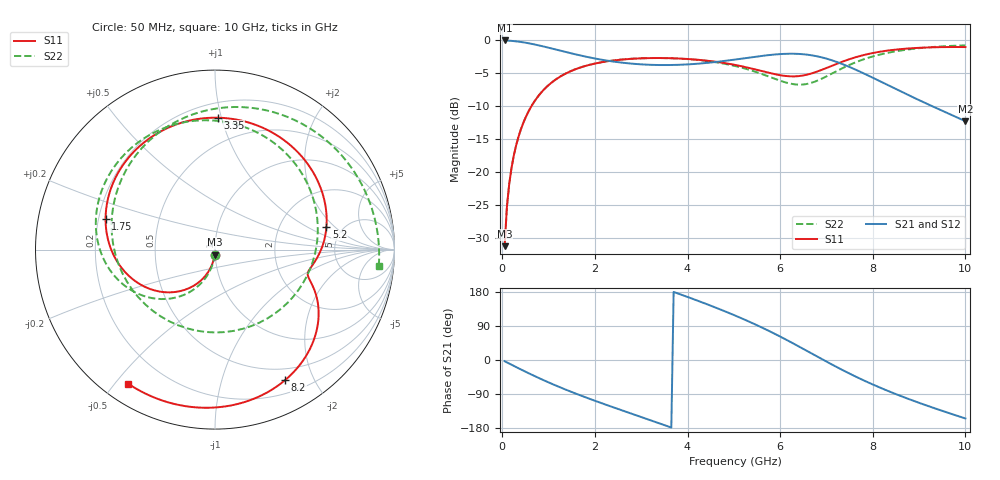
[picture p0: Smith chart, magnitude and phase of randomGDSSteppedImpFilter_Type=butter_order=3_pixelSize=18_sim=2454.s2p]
! freq	dB(S11)	phase(S11)	dB(S12)	phase(S12)
!  dB(S21)	phase(S21)	dB(S22)	phase(S22)
!S-par simulation data
#  GHz  S  DB  R 50
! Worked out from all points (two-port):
!   200 points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, 50 MHz to 10 GHz, reference 50 ohm
!   highest |S21| = -0.01 dB at 50 MHz (marker M1); lowest = -12.3 dB at 10 GHz (marker M2)
!   |S21| within 3 dB of the highest: start of sweep to 2.21 GHz; 4.918 GHz to 7.114 GHz (2.196 GHz wide, 36.5 % of centre)
!   lowest |S11| = -31.2 dB at 50 MHz (marker M3), VSWR 1.06, Z = 49.8 - j2.73 ohm
!   |S11| at or under -10 dB: start of sweep to 628.4 MHz
!   |S22| runs from -31.2 to -0.8 dB; largest |S21 - S12| = 0
!   S11 on the Smith chart (normalised r, x): 50 MHz: 1.00, -0.05; 1.75 GHz: 0.23, +0.13; 3.35 GHz: 0.30, +0.97; 5.2 GHz: 3.76, +1.57; 8.2 GHz: 0.35, -1.61; 10 GHz: 0.08, -0.54
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0.05  -31.23 -93.5  -0.01 -3.2  -0.01 -3.2  -31.22 -93.0
0.1  -25.24 -97.1  -0.02 -6.3  -0.02 -6.3  -25.23 -96.1
0.2  -19.31 -104.0  -0.07 -12.6  -0.07 -12.6  -19.30 -102.0
0.5  -11.75 -123.9  -0.34 -30.8  -0.34 -30.8  -11.74 -118.8
1.05  -6.49 -157.7  -1.19 -61.8  -1.19 -61.8  -6.47 -147.1
1.75  -3.97 164.4  -2.38 -96.3  -2.38 -96.3  -3.95 -178.1
2.6  -2.90 123.1  -3.39 -133.5  -3.39 -133.5  -2.88 148.7
3.35  -2.67 88.8  -3.73 -165.3  -3.73 -165.3  -2.67 119.8
3.4  -2.67 86.6  -3.74 -167.4  -3.74 -167.4  -2.67 117.8
4.25  -2.95 49.2  -3.52 155.1  -3.52 155.1  -2.99 81.2
5.05  -3.75 16.8  -2.88 116.2  -2.88 116.2  -3.92 37.6
5.2  -3.97 11.4  -2.74 108.3  -2.74 108.3  -4.19 27.7
5.85  -5.07 -7.3  -2.16 71.2  -2.16 71.2  -5.74 -25.9
6.3  -5.46 -14.2  -2.02 42.6  -2.02 42.6  -6.66 -77.0
6.7  -4.97 -18.8  -2.28 15.9  -2.28 15.9  -6.38 -129.1
7.05  -4.04 -25.4  -2.87 -7.5  -2.87 -7.5  -5.28 -171.8
7.35  -3.21 -33.5  -3.61 -26.7  -3.61 -26.7  -4.20 156.8
7.8  -2.23 -48.0  -4.99 -53.6  -4.99 -53.6  -2.87 117.6
8.2  -1.67 -61.8  -6.35 -75.1  -6.35 -75.1  -2.07 88.8
8.35  -1.52 -67.0  -6.87 -82.7  -6.87 -82.7  -1.85 79.0
9.2  -1.07 -95.7  -9.71 -121.7  -9.71 -121.7  -1.05 31.5
10  -1.01 -122.9  -12.26 -154.3  -12.26 -154.3  -0.75 -5.8
